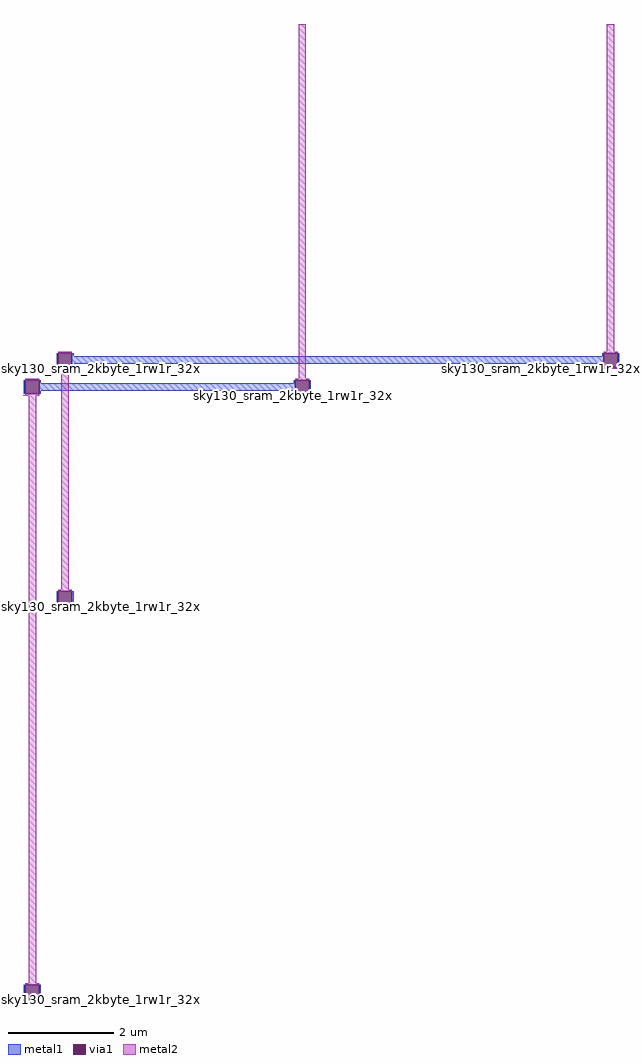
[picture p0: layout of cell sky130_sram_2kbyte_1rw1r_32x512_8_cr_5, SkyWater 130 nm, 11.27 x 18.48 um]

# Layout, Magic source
magic
tech sky130A
magscale 1 2
<< metal1 >>
rect 101889 69433 101895 69485
rect 101947 69473 101953 69485
rect 103955 69473 103961 69485
rect 101947 69445 103961 69473
rect 101947 69433 101953 69445
rect 103955 69433 103961 69445
rect 104013 69433 104019 69485
rect 101765 69331 101771 69383
rect 101823 69371 101829 69383
rect 102787 69371 102793 69383
rect 101823 69343 102793 69371
rect 101823 69331 101829 69343
rect 102787 69331 102793 69343
rect 102845 69331 102851 69383
rect 101889 68532 101895 68584
rect 101947 68532 101953 68584
rect 101765 67042 101771 67094
rect 101823 67042 101829 67094
<< via1 >>
rect 101895 69433 101947 69485
rect 103961 69433 104013 69485
rect 101771 69331 101823 69383
rect 102793 69331 102845 69383
rect 101895 68532 101947 68584
rect 101771 67042 101823 67094
<< metal2 >>
rect 101895 69485 101947 69491
rect 101895 69427 101947 69433
rect 101771 69383 101823 69389
rect 101771 69325 101823 69331
rect 101783 67100 101811 69325
rect 101907 68590 101935 69427
rect 102805 69389 102833 70732
rect 103973 69491 104001 70732
rect 103961 69485 104013 69491
rect 103961 69427 104013 69433
rect 102793 69383 102845 69389
rect 102793 69325 102845 69331
rect 101895 68584 101947 68590
rect 101895 68526 101947 68532
rect 101771 67094 101823 67100
rect 101771 67036 101823 67042
use sky130_sram_2kbyte_1rw1r_32x512_8_contact_19  sky130_sram_2kbyte_1rw1r_32x512_8_contact_19_0
transform 1 0 103955 0 1 69427
box 0 0 1 1
use sky130_sram_2kbyte_1rw1r_32x512_8_contact_19  sky130_sram_2kbyte_1rw1r_32x512_8_contact_19_1
transform 1 0 101889 0 1 68526
box 0 0 1 1
use sky130_sram_2kbyte_1rw1r_32x512_8_contact_19  sky130_sram_2kbyte_1rw1r_32x512_8_contact_19_2
transform 1 0 101889 0 1 69427
box 0 0 1 1
use sky130_sram_2kbyte_1rw1r_32x512_8_contact_19  sky130_sram_2kbyte_1rw1r_32x512_8_contact_19_3
transform 1 0 102787 0 1 69325
box 0 0 1 1
use sky130_sram_2kbyte_1rw1r_32x512_8_contact_19  sky130_sram_2kbyte_1rw1r_32x512_8_contact_19_4
transform 1 0 101765 0 1 67036
box 0 0 1 1
use sky130_sram_2kbyte_1rw1r_32x512_8_contact_19  sky130_sram_2kbyte_1rw1r_32x512_8_contact_19_5
transform 1 0 101765 0 1 69325
box 0 0 1 1
<< properties >>
string FIXED_BBOX 101765 67036 104019 70732
string GDS_FILE $PDKPATH/libs.ref/sky130_sram_macros/gds/sky130_sram_2kbyte_1rw1r_32x512_8.gds
string GDS_END 12234198
string GDS_START 12233110
<< end >>
